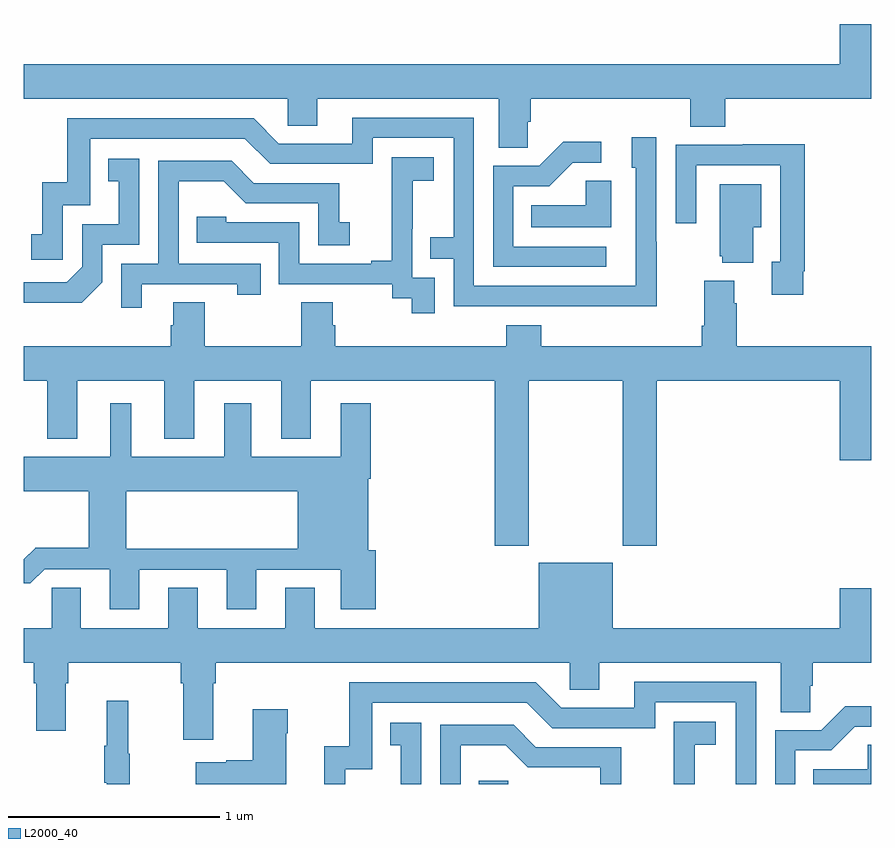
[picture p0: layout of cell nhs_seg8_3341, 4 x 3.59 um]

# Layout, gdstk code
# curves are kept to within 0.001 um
import gdstk
lib = gdstk.Library(unit=1e-6, precision=1e-09)
def R(c, l, rs):  # rectangles x0, y0, x1, y1
    for r in rs: c.add(gdstk.rectangle(r[:2], r[2:], *l))
def P(c, l, *ps):  # polygons
    for p in ps: c.add(gdstk.Polygon(p, *l))
L2000_40 = (2000, 40)

nhs_seg8_3341 = lib.new_cell('nhs_seg8_3341')
R(nhs_seg8_3341, L2000_40, [(319.147,1143.9,319.287,1143.915)])
P(nhs_seg8_3341, L2000_40, [(319.38,1147.027),(319.394,1147.027),(319.394,1147.136),(320.147,1147.136),(320.147,1147.003),(320.312,1147.003),(320.312,1147.136),(321,1147.136),(321,1147.489),(320.852,1147.489),(320.852,1147.3),(317,1147.3),(317,1147.136),(318.246,1147.136),(318.246,1147.009),(318.385,1147.009),(318.385,1147.136),(319.241,1147.136),(319.241,1146.904),(319.38,1146.904)],
  [(319.989,1146.461),(319.986,1146.461),(319.986,1146.955),(319.871,1146.955),(319.871,1146.81),(319.89,1146.81),(319.89,1146.252),(319.125,1146.252),(319.125,1147.047),(318.551,1147.047),(318.551,1146.924),(318.204,1146.924),(318.084,1147.044),(317.205,1147.044),(317.205,1146.742),(317.087,1146.742),(317.087,1146.495),(317.034,1146.495),(317.034,1146.375),(317.184,1146.375),(317.184,1146.633),(317.313,1146.633),(317.313,1146.948),(318.042,1146.948),(318.162,1146.828),(318.648,1146.828),(318.648,1146.951),(319.029,1146.951),(319.029,1146.482),(318.919,1146.482),(318.919,1146.381),(319.029,1146.381),(319.029,1146.156),(319.989,1146.155)],
  [(319.75,1146.438),(319.311,1146.438),(319.311,1146.723),(319.48,1146.723),(319.591,1146.834),(319.726,1146.834),(319.726,1146.932),(319.547,1146.932),(319.434,1146.819),(319.215,1146.819),(319.215,1146.342),(319.75,1146.342)],
  [(320.68,1146.322),(320.687,1146.322),(320.687,1146.92),(320.395,1146.92),(320.395,1146.918),(320.079,1146.918),(320.079,1146.549),(320.175,1146.549),(320.175,1146.822),(320.571,1146.822),(320.571,1146.366),(320.531,1146.366),(320.531,1146.21),(320.68,1146.21)],
  [(318.939,1146.291),(318.834,1146.291),(318.834,1146.521),(318.836,1146.521),(318.836,1146.749),(318.934,1146.749),(318.934,1146.859),(318.736,1146.859),(318.736,1146.653),(318.737,1146.653),(318.737,1146.37),(318.641,1146.37),(318.641,1146.357),(318.3,1146.357),(318.3,1146.552),(317.955,1146.552),(317.955,1146.579),(317.815,1146.579),(317.815,1146.456),(318.204,1146.456),(318.204,1146.261),(318.738,1146.261),(318.738,1146.193),(318.831,1146.193),(318.831,1146.123),(318.939,1146.123)],
  [(317.37,1146.27),(317.37,1146.447),(317.544,1146.447),(317.544,1146.853),(317.398,1146.853),(317.398,1146.747),(317.447,1146.747),(317.447,1146.543),(317.274,1146.543),(317.274,1146.342),(317.202,1146.27),(317,1146.27),(317,1146.173),(317.272,1146.173)],
  [(317.557,1146.261),(318.008,1146.261),(318.008,1146.21),(318.119,1146.21),(318.119,1146.357),(317.73,1146.357),(317.73,1146.746),(317.944,1146.746),(318.048,1146.642),(318.39,1146.642),(318.39,1146.444),(318.538,1146.444),(318.538,1146.553),(318.489,1146.553),(318.489,1146.738),(318.085,1146.738),(317.98,1146.843),(317.634,1146.843),(317.634,1146.357),(317.46,1146.357),(317.46,1146.15),(317.557,1146.15)],
  [(319.774,1146.749),(319.653,1146.749),(319.653,1146.634),(319.396,1146.634),(319.396,1146.53),(319.774,1146.53)],
  [(320.443,1146.53),(320.482,1146.53),(320.482,1146.733),(320.285,1146.733),(320.285,1146.393),(320.297,1146.393),(320.297,1146.362),(320.443,1146.362)],
  [(317.853,1146.176),(317.705,1146.176),(317.705,1146.066),(317.693,1146.066),(317.693,1145.968),(317,1145.968),(317,1145.804),(317.111,1145.804),(317.111,1145.531),(317.251,1145.531),(317.251,1145.804),(317.663,1145.804),(317.663,1145.531),(317.803,1145.531),(317.803,1145.804),(318.215,1145.804),(318.215,1145.531),(318.355,1145.531),(318.355,1145.804),(319.223,1145.804),(319.223,1145.025),(319.383,1145.025),(319.383,1145.804),(319.828,1145.804),(319.828,1145.025),(319.988,1145.025),(319.988,1145.804),(320.852,1145.804),(320.852,1145.43),(321,1145.43),(321,1145.968),(320.366,1145.968),(320.366,1146.17),(320.353,1146.17),(320.353,1146.277),(320.213,1146.277),(320.213,1146.064),(320.201,1146.064),(320.201,1145.968),(319.442,1145.968),(319.442,1146.067),(319.277,1146.067),(319.277,1145.968),(318.47,1145.968),(318.47,1146.066),(318.457,1146.066),(318.457,1146.176),(318.31,1146.176),(318.31,1145.968),(317.853,1145.968)],
  [(317,1144.847),(317.03,1144.847),(317.097,1144.914),(317.405,1144.914),(317.405,1144.725),(317.545,1144.725),(317.545,1144.911),(317.957,1144.911),(317.957,1144.725),(318.097,1144.725),(318.097,1144.911),(318.497,1144.911),(318.497,1144.725),(318.662,1144.725),(318.662,1145.004),(318.625,1145.004),(318.625,1145.342),(318.638,1145.342),(318.638,1145.698),(318.497,1145.698),(318.497,1145.446),(318.073,1145.446),(318.073,1145.698),(317.945,1145.698),(317.945,1145.446),(317.506,1145.446),(317.506,1145.698),(317.408,1145.698),(317.408,1145.446),(317,1145.446),(317,1145.282),(317.305,1145.282),(317.305,1145.015),(317.054,1145.015),(317.051,1145.012),(317.483,1145.012),(317.483,1145.282),(318.293,1145.282),(318.293,1145.012),(317.051,1145.012),(317,1144.961)],
  [(317.893,1144.376),(317.906,1144.376),(317.906,1144.472),(319.578,1144.472),(319.578,1144.345),(319.717,1144.345),(319.717,1144.472),(320.573,1144.472),(320.573,1144.24),(320.712,1144.24),(320.712,1144.363),(320.726,1144.363),(320.726,1144.472),(321,1144.472),(321,1144.825),(320.852,1144.825),(320.852,1144.636),(319.78,1144.636),(319.78,1144.945),(319.43,1144.945),(319.43,1144.636),(318.373,1144.636),(318.373,1144.826),(318.233,1144.826),(318.233,1144.636),(317.821,1144.636),(317.821,1144.826),(317.681,1144.826),(317.681,1144.636),(317.269,1144.636),(317.269,1144.826),(317.13,1144.826),(317.13,1144.636),(317,1144.636),(317,1144.472),(317.045,1144.472),(317.045,1144.376),(317.057,1144.376),(317.057,1144.152),(317.197,1144.152),(317.197,1144.376),(317.21,1144.376),(317.21,1144.472),(317.741,1144.472),(317.741,1144.376),(317.753,1144.376),(317.753,1144.11),(317.893,1144.11)],
  [(318.516,1143.969),(318.645,1143.969),(318.645,1144.284),(319.374,1144.284),(319.494,1144.164),(319.98,1144.164),(319.98,1144.287),(320.361,1144.287),(320.361,1143.9),(320.457,1143.9),(320.457,1144.383),(319.883,1144.383),(319.883,1144.26),(319.536,1144.26),(319.416,1144.38),(318.537,1144.38),(318.537,1144.078),(318.419,1144.078),(318.419,1143.9),(318.516,1143.9)],
  [(317.5,1144.044),(317.492,1144.044),(317.492,1144.294),(317.39,1144.294),(317.39,1144.081),(317.379,1144.081),(317.379,1143.907),(317.39,1143.907),(317.39,1143.9),(317.5,1143.9)],
  [(320.643,1144.059),(320.812,1144.059),(320.923,1144.17),(321,1144.17),(321,1144.268),(320.879,1144.268),(320.766,1144.155),(320.547,1144.155),(320.547,1143.9),(320.643,1143.9)],
  [(318.238,1144.139),(318.246,1144.139),(318.246,1144.252),(318.08,1144.252),(318.08,1144.013),(317.954,1144.013),(317.954,1144.003),(317.811,1144.003),(317.811,1143.9),(318.238,1143.9)],
  [(320.168,1144.085),(320.266,1144.085),(320.266,1144.195),(320.068,1144.195),(320.068,1143.989),(320.069,1143.989),(320.069,1143.9),(320.168,1143.9)],
  [(318.876,1144.189),(318.73,1144.189),(318.73,1144.083),(318.779,1144.083),(318.779,1143.9),(318.876,1143.9)],
  [(319.062,1144.082),(319.276,1144.082),(319.38,1143.978),(319.722,1143.978),(319.722,1143.9),(319.821,1143.9),(319.821,1144.074),(319.417,1144.074),(319.312,1144.179),(318.966,1144.179),(318.966,1143.9),(319.062,1143.9)],
  [(321,1144.085),(320.985,1144.085),(320.985,1143.97),(320.728,1143.97),(320.728,1143.9),(321,1143.9)])

lib.write_gds('nhs_seg8_3341.gds')
